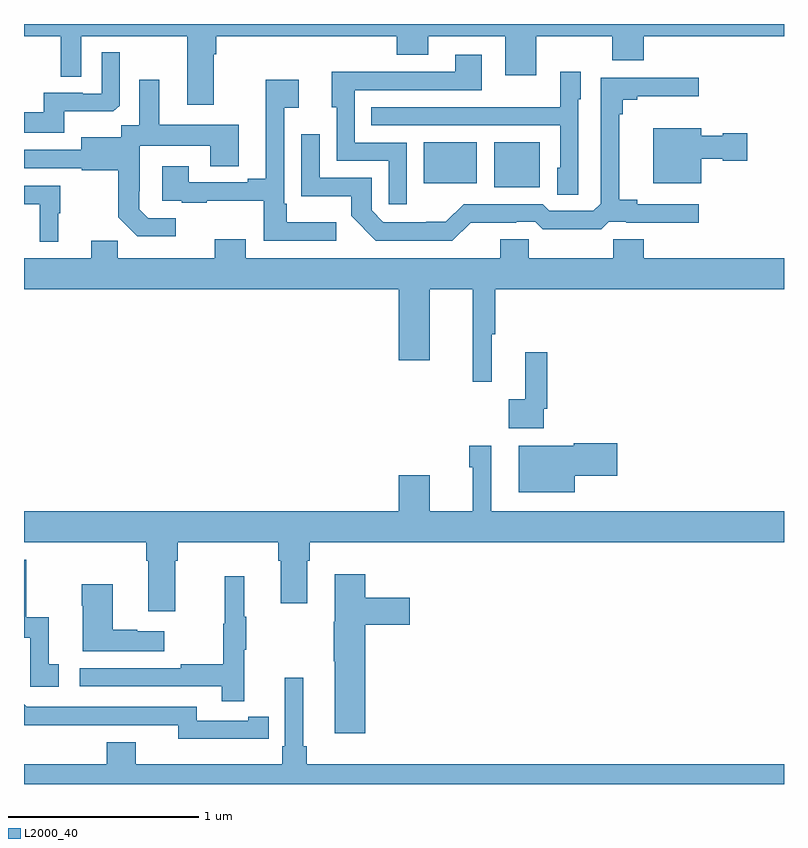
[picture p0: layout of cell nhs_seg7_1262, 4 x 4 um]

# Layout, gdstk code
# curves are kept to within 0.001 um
import gdstk
lib = gdstk.Library(unit=1e-6, precision=1e-09)
def R(c, l, rs):  # rectangles x0, y0, x1, y1
    for r in rs: c.add(gdstk.rectangle(r[:2], r[2:], *l))
def P(c, l, *ps):  # polygons
    for p in ps: c.add(gdstk.Polygon(p, *l))
L2000_40 = (2000, 40)

nhs_seg7_1262 = lib.new_cell('nhs_seg7_1262')
R(nhs_seg7_1262, L2000_40, [(201.476,1013.141,201.715,1013.377), (201.104,1013.162,201.382,1013.377)])
P(nhs_seg7_1262, L2000_40, [(199.999,1013.84),(200.012,1013.84),(200.012,1013.936),(200.963,1013.936),(200.963,1013.837),(201.127,1013.837),(201.127,1013.936),(201.533,1013.936),(201.533,1013.73),(201.697,1013.73),(201.697,1013.936),(202.097,1013.936),(202.097,1013.808),(202.261,1013.808),(202.261,1013.936),(203,1013.936),(203,1014),(199,1014),(199,1013.936),(199.194,1013.936),(199.194,1013.722),(199.302,1013.722),(199.302,1013.936),(199.859,1013.936),(199.859,1013.574),(199.999,1013.574)],
  [(199.213,1013.54),(199.471,1013.54),(199.503,1013.571),(199.503,1013.851),(199.41,1013.851),(199.41,1013.634),(199.31,1013.634),(199.31,1013.637),(199.103,1013.637),(199.103,1013.536),(199,1013.536),(199,1013.427),(199.213,1013.427)],
  [(201.015,1013.376),(200.742,1013.376),(200.742,1013.652),(201.409,1013.652),(201.409,1013.839),(201.269,1013.839),(201.269,1013.748),(200.839,1013.748),(200.839,1013.75),(200.621,1013.75),(200.621,1013.562),(200.646,1013.562),(200.646,1013.28),(200.919,1013.28),(200.919,1013.052),(201.015,1013.052)],
  [(201.918,1013.604),(201.931,1013.604),(201.931,1013.749),(201.822,1013.749),(201.822,1013.563),(201.505,1013.563),(201.505,1013.562),(200.827,1013.562),(200.827,1013.466),(201.822,1013.466),(201.822,1013.244),(201.806,1013.244),(201.806,1013.101),(201.918,1013.101)],
  [(201.35,1012.955),(201.59,1012.955),(201.59,1012.959),(201.69,1012.959),(201.73,1012.92),(202.037,1012.92),(202.077,1012.959),(202.171,1012.959),(202.171,1012.955),(202.552,1012.955),(202.552,1013.052),(202.228,1013.052),(202.228,1013.075),(202.133,1013.075),(202.133,1013.525),(202.151,1013.525),(202.151,1013.602),(202.228,1013.602),(202.228,1013.621),(202.552,1013.621),(202.552,1013.718),(202.035,1013.718),(202.035,1013.055),(201.996,1013.016),(201.765,1013.016),(201.729,1013.052),(201.315,1013.052),(201.221,1012.958),(201.116,1012.958),(201.116,1012.956),(200.892,1012.956),(200.829,1013.019),(200.829,1013.19),(200.556,1013.19),(200.556,1013.419),(200.46,1013.419),(200.46,1013.093),(200.722,1013.093),(200.722,1012.991),(200.852,1012.86),(201.255,1012.86)],
  [(199.798,1012.977),(199.653,1012.977),(199.606,1013.024),(199.606,1013.119),(199.608,1013.119),(199.608,1013.36),(199.979,1013.36),(199.979,1013.251),(200.131,1013.251),(200.131,1013.47),(199.711,1013.47),(199.711,1013.707),(199.607,1013.707),(199.607,1013.468),(199.512,1013.468),(199.512,1013.404),(199.301,1013.404),(199.301,1013.337),(199,1013.337),(199,1013.241),(199.305,1013.241),(199.305,1013.229),(199.497,1013.229),(199.497,1012.983),(199.597,1012.883),(199.798,1012.883)],
  [(200.644,1012.957),(200.383,1012.957),(200.383,1013.053),(200.37,1013.053),(200.37,1013.558),(200.446,1013.558),(200.446,1013.707),(200.273,1013.707),(200.273,1013.185),(200.177,1013.185),(200.177,1013.166),(199.867,1013.166),(199.867,1013.251),(199.727,1013.251),(199.727,1013.07),(199.831,1013.07),(199.831,1013.058),(199.963,1013.058),(199.963,1013.069),(200.262,1013.069),(200.262,1012.86),(200.644,1012.86)],
  [(202.564,1013.291),(202.677,1013.291),(202.677,1013.279),(202.807,1013.279),(202.807,1013.426),(202.677,1013.426),(202.677,1013.413),(202.564,1013.413),(202.564,1013.452),(202.313,1013.452),(202.313,1013.162),(202.564,1013.162)],
  [(199.18,1013.004),(199.192,1013.004),(199.192,1013.148),(199,1013.148),(199,1013.052),(199.082,1013.052),(199.082,1012.853),(199.18,1012.853)],
  [(201.461,1012.368),(201.479,1012.368),(201.479,1012.604),(203,1012.604),(203,1012.768),(202.262,1012.768),(202.262,1012.866),(202.102,1012.866),(202.102,1012.768),(201.657,1012.768),(201.657,1012.866),(201.506,1012.866),(201.506,1012.768),(200.167,1012.768),(200.167,1012.867),(200.003,1012.867),(200.003,1012.768),(199.493,1012.768),(199.493,1012.859),(199.355,1012.859),(199.355,1012.768),(199,1012.768),(199,1012.604),(200.972,1012.604),(200.972,1012.23),(201.136,1012.23),(201.136,1012.604),(201.361,1012.604),(201.361,1012.116),(201.461,1012.116)],
  [(201.735,1011.976),(201.755,1011.976),(201.755,1012.273),(201.638,1012.273),(201.638,1012.025),(201.552,1012.025),(201.552,1011.872),(201.735,1011.872)],
  [(201.898,1011.623),(202.123,1011.623),(202.123,1011.794),(201.894,1011.794),(201.894,1011.781),(201.605,1011.781),(201.605,1011.536),(201.898,1011.536)],
  [(199.795,1011.176),(199.808,1011.176),(199.808,1011.272),(200.339,1011.272),(200.339,1011.176),(200.351,1011.176),(200.351,1010.952),(200.491,1010.952),(200.491,1011.176),(200.504,1011.176),(200.504,1011.272),(203,1011.272),(203,1011.436),(201.46,1011.436),(201.46,1011.781),(201.343,1011.781),(201.343,1011.668),(201.361,1011.668),(201.361,1011.436),(201.136,1011.436),(201.136,1011.625),(200.972,1011.625),(200.972,1011.436),(199,1011.436),(199,1011.272),(199.643,1011.272),(199.643,1011.176),(199.655,1011.176),(199.655,1010.91),(199.795,1010.91)],
  [(199.183,1010.631),(199.13,1010.631),(199.13,1010.878),(199.012,1010.878),(199.012,1011.18),(199,1011.18),(199,1010.769),(199.032,1010.769),(199.032,1010.511),(199.183,1010.511)],
  [(200.795,1010.837),(201.031,1010.837),(201.031,1010.979),(200.795,1010.979),(200.795,1011.103),(200.636,1011.103),(200.636,1010.853),(200.629,1010.853),(200.629,1010.647),(200.636,1010.647),(200.636,1010.268),(200.795,1010.268)],
  [(200.159,1010.707),(200.17,1010.707),(200.17,1010.881),(200.159,1010.881),(200.159,1011.094),(200.056,1011.094),(200.056,1010.844),(200.049,1010.844),(200.049,1010.63),(199.825,1010.63),(199.825,1010.61),(199.293,1010.61),(199.293,1010.514),(200.041,1010.514),(200.041,1010.436),(200.159,1010.436)],
  [(199.738,1010.803),(199.595,1010.803),(199.595,1010.813),(199.468,1010.813),(199.468,1011.052),(199.303,1011.052),(199.303,1010.939),(199.31,1010.939),(199.31,1010.699),(199.738,1010.699)],
  [(203,1010.104),(200.489,1010.104),(200.489,1010.2),(200.47,1010.2),(200.47,1010.56),(200.373,1010.56),(200.373,1010.2),(200.36,1010.2),(200.36,1010.104),(199.588,1010.104),(199.588,1010.221),(199.436,1010.221),(199.436,1010.104),(199,1010.104),(199,1010),(203,1010)],
  [(200.18,1010.238),(200.288,1010.238),(200.288,1010.354),(200.18,1010.354),(200.18,1010.334),(199.908,1010.334),(199.908,1010.406),(199.014,1010.406),(199,1010.42),(199,1010.309),(199.812,1010.31),(199.812,1010.237)])

lib.write_gds('nhs_seg7_1262.gds')
